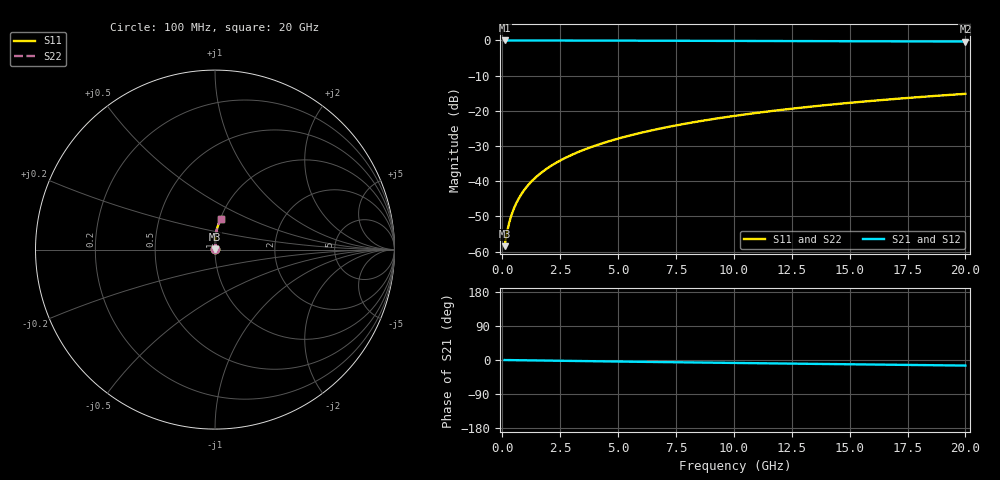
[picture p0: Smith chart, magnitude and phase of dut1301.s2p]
! Touchstone file exported from HFSS 2024.1.0
!  File:  C:/UserFiles/LocalFiles/RDL_TSV_Batchsim/temp_RDL_bottom_1301_1780368148.aedt
!  Generated:  10:45:08 AM Jun  2, 2026
!  Design:  RDL_bottom
!  Project:  temp_RDL_bottom_1301_1780368148
!  Setup:  Setup1
!  Solution:  Sweep
! Variables:
!  dtsv = 10.80580581um
!  hbump = 3um
!  htsv = 69.81um
!  ldown = 162.37um
!  lrdl = 100um
!  p = 40
!  p1 = 55.15um
!  rhole = 1um
!  t = 450um
!  tdown = 3.97um
!  trdl = 3.915915916um
!  wdown = 21.7um
!  wrdl = 20um
# GHz S MA R 50.000000
! Terminal data exported
! Port[1] = RDL1_T1
! Port[2] = RDL1_T2
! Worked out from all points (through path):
!   200 points, 100 MHz to 20 GHz, reference 50 ohm
!   highest |S21| = -0.01 dB at 100 MHz (marker M1); lowest = -0.3 dB at 20 GHz (marker M2)
!   group delay of S21, straight-line fit = 2.02 ps
!   lowest |S11| = -58.4 dB at 100 MHz (marker M3), VSWR 1.00, Z = 50.1 + j0.0836 ohm
!   |S11| at or under -10 dB: start of sweep to end of sweep
!   |S22| runs from -58.4 to -15.2 dB; largest |S21 - S12| = 3.4e-15
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0.1  0.001199 44.1  0.9991 -0.1  0.9991 -0.1  0.001199 44.1
! Gamma 0 0 0 0
! Port Impedance 50 0 50 0
0.2  0.001872 61.4  0.9991 -0.2  0.9991 -0.2  0.001872 61.4
0.3  0.002602 69.0  0.999 -0.3  0.999 -0.3  0.002602 69.0
0.4  0.003345 73.4  0.999 -0.3  0.999 -0.3  0.003345 73.4
0.5  0.004095 76.3  0.9989 -0.4  0.9989 -0.4  0.004096 76.3
0.6  0.004852 78.4  0.9989 -0.5  0.9989 -0.5  0.004852 78.4
0.8  0.006379 81.2  0.9988 -0.7  0.9988 -0.7  0.006379 81.2
1.1  0.008692 83.6  0.9986 -0.9  0.9986 -0.9  0.008692 83.6
1.5  0.01181 85.4  0.9984 -1.3  0.9984 -1.3  0.01181 85.4
1.8  0.01416 86.3  0.9981 -1.5  0.9981 -1.5  0.01416 86.3
2.1  0.01653 87.0  0.9978 -1.8  0.9978 -1.8  0.01653 87.0
2.7  0.02132 87.8  0.9972 -2.2  0.9972 -2.2  0.02132 87.8
3.5  0.02782 88.5  0.9961 -2.9  0.9961 -2.9  0.02782 88.5
4.2  0.0336 88.8  0.995 -3.4  0.995 -3.4  0.0336 88.8
5  0.04034 88.9  0.9936 -4.1  0.9936 -4.1  0.04034 88.9
5.9  0.04807 88.9  0.9919 -4.8  0.9919 -4.8  0.04807 88.9
6.8  0.05593 88.6  0.9902 -5.4  0.9902 -5.4  0.05593 88.6
8.4  0.07017 87.9  0.9871 -6.6  0.9871 -6.6  0.07017 87.9
10.1  0.08552 86.9  0.9838 -7.8  0.9838 -7.8  0.08553 86.9
13.4  0.1155 84.5  0.9775 -10.2  0.9775 -10.2  0.1155 84.5
16.7  0.1453 81.9  0.9712 -12.4  0.9712 -12.4  0.1453 81.9
20  0.1745 79.3  0.9646 -14.7  0.9646 -14.7  0.1745 79.3
